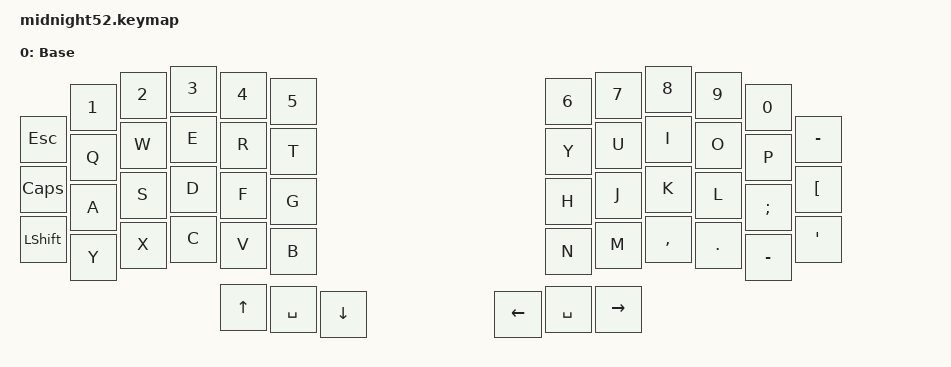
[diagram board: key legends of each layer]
#include <behaviors.dtsi>
#include <dt-bindings/zmk/keys.h>

/ {
    keymap {
        compatible = "zmk,keymap";

            // Base keymap.
        //
            //  Left side                                           Right side (mirrored)
            //  ┌──────┬──────┬──────┬──────┬──────┬──────┐                                         ┌──────┬──────┬──────┬──────┬──────┬──────┐
            //  │  Esc │  1   │  2   │  3   │  4   │  5   │                                         │  6   │  7   │  8   │  9   │  0   │ ß    │
            //  ├──────┼──────┼──────┼──────┼──────┼──────┤                                         ├──────┼──────┼──────┼──────┼──────┼──────┤
            //  │ Caps │  Q   │  W   │  E   │  R   │  T   │                                         │  Z   │  U   │  I   │  O   │  P   │  Ü   │
            //  ├──────┼──────┼──────┼──────┼──────┼──────┤                                         ├──────┼──────┼──────┼──────┼──────┼──────┤
            //  │ Sft  │  A   │  S   │  D   │  F   │  G   │                                         │  H   │  J   │  K   │  L   │  Ö   │  Ä   │
            //  ├──────┼──────┼──────┼──────┼──────┼──────┼──────┬──────┐             ┌──────┬──────┼──────┼──────┼──────┼──────┼──────┼──────┤
            //  │  Y   │  X   │  C   │  V   │  B   │  Up  │ Space│ Down │             │ Left │ SPACE│ RIGHT│  N   │  M   │  ,   │  .   │   -  │
            //  └──────┴──────┴──────┴──────┴──────┴──────┴──────┴──────┘             └──────┴──────┴──────┴──────┴──────┴──────┴──────┴──────┘

        default_layer {
            display-name = "Base";
            bindings = <
                //  ┌──────┬──────┬──────┬──────┬──────┬──────┐                                         ┌──────┬──────┬──────┬──────┬──────┬──────┐
                &kp ESC   &kp N1    &kp N2    &kp N3    &kp N4    &kp N5                                          &kp N6    &kp N7    &kp N8    &kp N9    &kp N0    &kp MINUS
                //  ├──────┼──────┼──────┼──────┼──────┼──────┤                                         ├──────┼──────┼──────┼──────┼──────┼──────┤
                &kp CAPS  &kp Q     &kp W     &kp E     &kp R     &kp T                                           &kp Y     &kp U     &kp I     &kp O     &kp P     &kp LBKT
                //  ├──────┼──────┼──────┼──────┼──────┼──────┤                                         ├──────┼──────┼──────┼──────┼──────┼──────┤
                &kp LSHFT &kp A     &kp S     &kp D     &kp F     &kp G                                           &kp H     &kp J     &kp K     &kp L     &kp SEMI  &kp SQT
                //  ├──────┼──────┼──────┼──────┼──────┼──────┼──────┬──────┐             ┌──────┬──────┼──────┼──────┼──────┼──────┼──────┼──────┤
                &kp Y     &kp X     &kp C     &kp V     &kp B     &kp UP      &kp SPACE &kp DOWN              &kp LEFT  &kp SPACE &kp RIGHT &kp N     &kp M     &kp COMMA &kp DOT   &kp MINUS
                //  └──────┴──────┴──────┴──────┴──────┴──────┴──────┴──────┘             └──────┴──────┴──────┴──────┴──────┴──────┴──────┴──────┘
            >;
        };
    };
};
